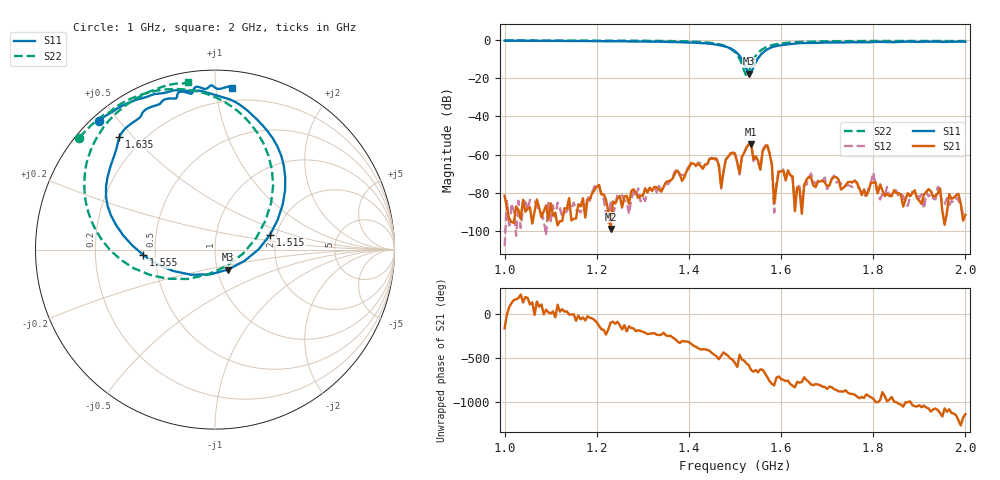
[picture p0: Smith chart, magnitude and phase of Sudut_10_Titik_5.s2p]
# Hz S RI R 50
! CMT, C1220, 16058040, 17.2.0/1
! Date: 14/08/2018 11:45:42
! Data: Format (Calibration Info)
! Freq  S11: Re/Im (F2)  S21: Re/Im (F2)  S12: Re/Im (F2)  S22: Re/Im (F2)
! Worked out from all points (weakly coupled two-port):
!   201 points, 1 GHz to 2 GHz, reference 50 ohm
!   highest |S21| = -54.36 dB at 1.535 GHz (marker M1); lowest = -99.0 dB at 1.23 GHz (marker M2)
!   lowest |S11| = -17.5 dB at 1.53 GHz (marker M3), VSWR 1.31, Z = 56.3 - j12.8 ohm
!   |S11| at or under -10 dB: 1.515 GHz to 1.549 GHz (33.79 MHz wide, 2.21 % of centre)
!   |S22| runs from -19.1 to -0.2 dB; largest |S21 - S12| = 0.00025
!   S11 on the Smith chart (normalised r, x): 1 GHz: 0.02, +0.44; 1.515 GHz: 1.85, +0.34; 1.555 GHz: 0.43, -0.03; 1.635 GHz: 0.12, +0.46; 2 GHz: 0.11, +1.11
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1e9  -0.6484 0.7153  -8.15e-05 -1.98e-05  6.87e-07 -3.94e-06  -0.755 0.6245
1.17e9  -0.4668 0.8234  5.16e-05 -4.97e-05  9.03e-06 -4.81e-05  -0.6182 0.7508
1.23e9  -0.3827 0.85  -2.51e-06 -1.09e-05  -4.88e-05 -2.63e-05  -0.5622 0.7881
1.335e9  -0.2006 0.8858  -5.41e-05 0.00011  -7.46e-05 0.000131  -0.4008 0.8662
1.45e9  0.1863 0.7697  5.43e-05 -0.000775  -3.8e-05 -0.000829  0.0223 0.839
1.47e9  0.2937 0.6588  -6.18e-05 -0.000124  -0.000101 -7.95e-05  0.1624 0.74
1.48e9  0.3471 0.5762  -0.000124 -0.000736  -0.000102 -0.000732  0.2359 0.6507
1.5e9  0.3907 0.3326  -0.001 0.000378  -0.000933 0.000351  0.3238 0.3561
1.51e9  0.3501 0.1682  -8.8e-05 -0.000318  -7.79e-05 -0.000291  0.2808 0.1612
1.515e9  0.307 0.0829  -0.000808 -0.0003  -0.000837 -0.000359  0.2299 0.065
1.53e9  0.0722 -0.1115  -0.00133 0.00129  -0.0013 0.00133  -0.0424 -0.1396
1.535e9  -0.0285 -0.1381  0.000318 0.00189  0.000374 0.00191  -0.1535 -0.1637
1.555e9  -0.4002 -0.03  4.65e-06 0.000408  1.06e-05 0.000402  -0.5229 -0.058
1.57e9  -0.5515 0.1373  0.00177 6.9e-05  0.00188 7.46e-05  -0.6624 0.1046
1.585e9  -0.6073 0.298  -2.07e-06 -5.37e-05  -2.89e-05 -9.4e-06  -0.7181 0.2554
1.595e9  -0.6003 0.3953  0.000356 5.35e-05  0.000404 4.3e-05  -0.7277 0.3395
1.635e9  -0.5321 0.628  8.56e-05 -0.00011  0.000134 -8.4e-05  -0.6886 0.5625
1.67e9  -0.428 0.7285  1.57e-06 -0.000155  2.21e-05 -0.000206  -0.6277 0.6719
1.785e9  -0.2137 0.8454  -8.26e-05 2e-05  -6.41e-05 3.3e-05  -0.4462 0.8375
1.8e9  -0.2082 0.8679  -8.58e-05 0.000163  -0.000115 0.000319  -0.4245 0.8499
1.835e9  -0.1372 0.8691  -2.29e-05 8.01e-05  -4.89e-06 8.09e-05  -0.377 0.8744
2e9  0.097 0.9026  1.38e-05 -2.25e-05  1.67e-05 -2.47e-05  -0.1519 0.9343
